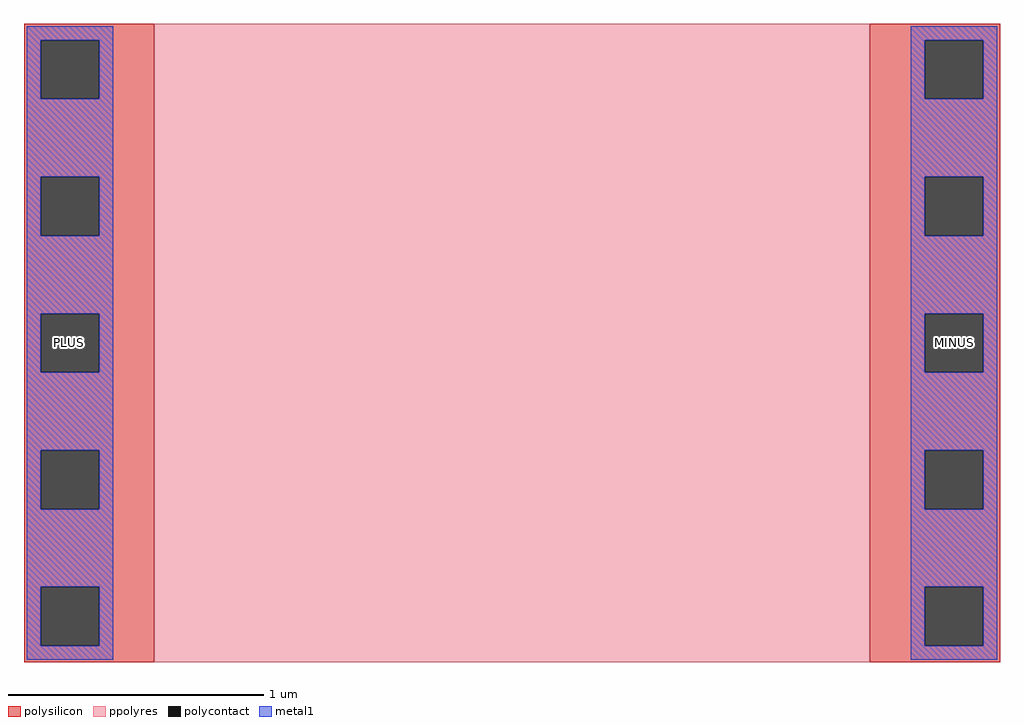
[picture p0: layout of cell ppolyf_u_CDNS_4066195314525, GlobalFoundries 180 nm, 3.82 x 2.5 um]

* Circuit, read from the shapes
.subckt ppolyf_u_CDNS_4066195314525 MINUS PLUS
XR1 MINUS PLUS VSUBS ppolyf_u r_width=2.5u r_length=2.8u
.ends

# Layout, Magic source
magic
tech gf180mcuD
magscale 1 10
<< polysilicon >>
rect 0 487 102 500
rect 0 441 13 487
rect 59 441 102 487
rect 0 380 102 441
rect 0 334 13 380
rect 59 334 102 380
rect 0 273 102 334
rect 0 227 13 273
rect 59 227 102 273
rect 0 166 102 227
rect 0 120 13 166
rect 59 120 102 166
rect 0 59 102 120
rect 0 13 13 59
rect 59 13 102 59
rect 0 0 102 13
rect 662 487 764 500
rect 662 441 705 487
rect 751 441 764 487
rect 662 380 764 441
rect 662 334 705 380
rect 751 334 764 380
rect 662 273 764 334
rect 662 227 705 273
rect 751 227 764 273
rect 662 166 764 227
rect 662 120 705 166
rect 751 120 764 166
rect 662 59 764 120
rect 662 13 705 59
rect 751 13 764 59
rect 662 0 764 13
<< polycontact >>
rect 13 441 59 487
rect 13 334 59 380
rect 13 227 59 273
rect 13 120 59 166
rect 13 13 59 59
rect 705 441 751 487
rect 705 334 751 380
rect 705 227 751 273
rect 705 120 751 166
rect 705 13 751 59
<< ppolyres >>
rect 102 0 662 500
<< metal1 >>
rect 2 487 70 498
rect 2 441 13 487
rect 59 441 70 487
rect 2 380 70 441
rect 2 334 13 380
rect 59 334 70 380
rect 2 273 70 334
rect 2 227 13 273
rect 59 227 70 273
rect 2 166 70 227
rect 2 120 13 166
rect 59 120 70 166
rect 2 59 70 120
rect 2 13 13 59
rect 59 13 70 59
rect 2 2 70 13
rect 694 487 762 498
rect 694 441 705 487
rect 751 441 762 487
rect 694 380 762 441
rect 694 334 705 380
rect 751 334 762 380
rect 694 273 762 334
rect 694 227 705 273
rect 751 227 762 273
rect 694 166 762 227
rect 694 120 705 166
rect 751 120 762 166
rect 694 59 762 120
rect 694 13 705 59
rect 751 13 762 59
rect 694 2 762 13
<< labels >>
rlabel polycontact 728 250 728 250 4 MINUS
rlabel polycontact 36 250 36 250 4 PLUS
<< end >>
